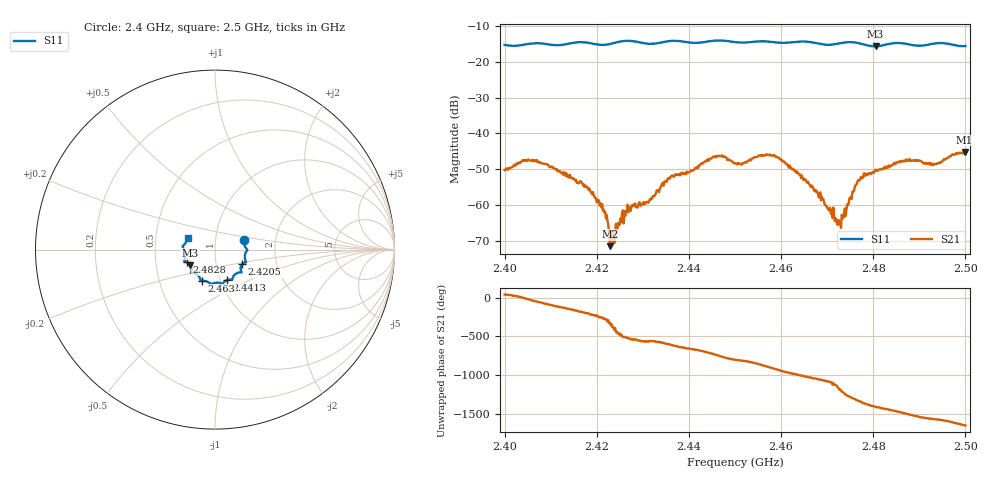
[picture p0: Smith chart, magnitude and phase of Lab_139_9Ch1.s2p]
# Hz S RI R 50
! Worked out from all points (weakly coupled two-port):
!   601 points, 2.4 GHz to 2.5 GHz, reference 50 ohm
!   highest |S21| = -45.14 dB at 2.4998 GHz (marker M1); lowest = -71.4 dB at 2.4228 GHz (marker M2)
!   lowest |S11| = -15.7 dB at 2.4805 GHz (marker M3), VSWR 1.39, Z = 37.3 - j6.69 ohm
!   |S11| at or under -10 dB: start of sweep to end of sweep
!   S12 and S22 are empty: the file has one direction only
!   S11 on the Smith chart (normalised r, x): 2.4 GHz: 1.38, +0.15; 2.4205 GHz: 1.34, -0.22; 2.4413 GHz: 1.08, -0.38; 2.463 GHz: 0.82, -0.29; 2.4828 GHz: 0.72, -0.10; 2.5 GHz: 0.73, +0.10
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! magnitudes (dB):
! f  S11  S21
! 2.4 GHz  -15.3  -50.2
! 2.4065 GHz  -14.9  -47.7
! 2.4167 GHz  -14.6  -53.6
! 2.4205 GHz  -15.3  -58.8
! 2.422 GHz  -15.3  -63.7
! 2.4228 GHz  -15.1  -71.4
! 2.4233 GHz  -14.9  -69.1
! 2.4272 GHz  -14.2  -60.5
! 2.4333 GHz  -14.8  -55.7
! 2.4413 GHz  -14.8  -49.6
! 2.4467 GHz  -14.1  -46.2
! 2.45 GHz  -14.5  -48.3
! 2.458 GHz  -14.5  -46.3
! 2.463 GHz  -14.5  -50.5
! 2.4667 GHz  -14.6  -54.5
! 2.4725 GHz  -15.0  -64.1
! 2.4768 GHz  -14.9  -53.0
! 2.4805 GHz  -15.7  -50.1
! 2.4828 GHz  -15.2  -49.3
! 2.4833 GHz  -15.1  -48.9
! 2.4998 GHz  -15.7  -45.1
! 2.5 GHz  -15.7  -45.5
